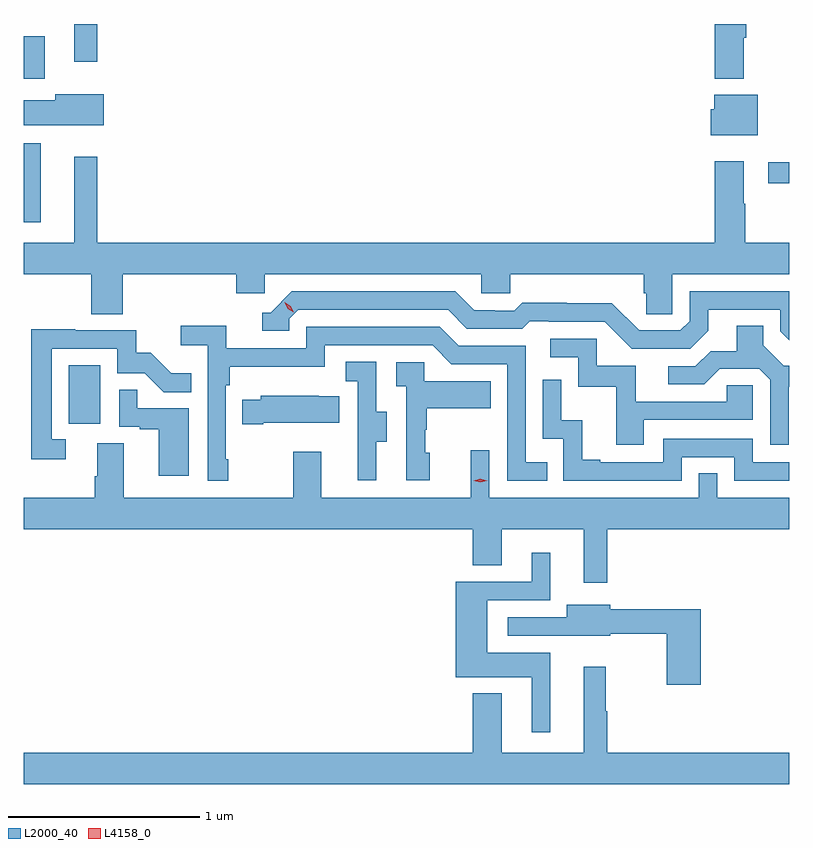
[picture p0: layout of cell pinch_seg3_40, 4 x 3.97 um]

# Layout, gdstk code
import gdstk
lib = gdstk.Library(unit=1e-6, precision=1e-09)
def R(c, l, rs):  # rectangles x0, y0, x1, y1
    for r in rs: c.add(gdstk.rectangle(r[:2], r[2:], *l))
def P(c, l, *ps):  # polygons
    for p in ps: c.add(gdstk.Polygon(p, *l))
L2000_40 = (2000, 40)
L4158_0 = (4158, 0)

pinch_seg3_40 = lib.new_cell('pinch_seg3_40')
R(pinch_seg3_40, L2000_40, [(1104.824,742.758,1104.988,743.065), (1104.588,743.811,1104.676,744.226), (1108.479,744.015,1108.588,744.125), (1104.588,744.563,1104.697,744.784), (1104.851,744.651,1104.973,744.848)])
P(pinch_seg3_40, L2000_40, [(1108.351,744.776),(1108.364,744.776),(1108.364,744.848),(1108.199,744.848),(1108.199,744.563),(1108.351,744.563)],
  [(1105.006,744.481),(1104.752,744.481),(1104.752,744.449),(1104.588,744.449),(1104.588,744.32),(1105.006,744.32)],
  [(1108.423,744.478),(1108.196,744.478),(1108.196,744.402),(1108.178,744.402),(1108.178,744.266),(1108.423,744.266)],
  [(1108.199,744.13),(1108.199,743.704),(1104.973,743.704),(1104.973,744.154),(1104.851,744.154),(1104.851,743.704),(1104.588,743.704),(1104.588,743.54),(1104.941,743.54),(1104.941,743.332),(1105.106,743.332),(1105.106,743.54),(1105.697,743.54),(1105.697,743.442),(1105.848,743.442),(1105.848,743.54),(1106.979,743.54),(1106.979,743.442),(1107.129,743.442),(1107.129,743.54),(1107.827,743.54),(1107.827,743.442),(1107.841,743.442),(1107.841,743.332),(1107.978,743.332),(1107.978,743.54),(1108.588,743.54),(1108.588,743.704),(1108.359,743.704),(1108.359,743.909),(1108.351,743.909),(1108.351,744.13)],
  [(1108.165,743.245),(1108.165,743.355),(1108.542,743.355),(1108.542,743.241),(1108.588,743.195),(1108.588,743.451),(1108.068,743.451),(1108.068,743.295),(1108.02,743.247),(1107.804,743.247),(1107.662,743.389),(1107.426,743.389),(1107.426,743.392),(1107.193,743.392),(1107.151,743.349),(1107.048,743.349),(1107.048,743.352),(1106.941,743.352),(1106.842,743.451),(1105.989,743.451),(1105.878,743.34),(1105.835,743.34),(1105.835,743.244),(1105.974,743.244),(1105.974,743.307),(1106.022,743.355),(1106.805,743.355),(1106.904,743.256),(1107.193,743.256),(1107.232,743.295),(1107.331,743.295),(1107.331,743.292),(1107.624,743.292),(1107.765,743.151),(1108.071,743.151)],
  [(1105.657,742.573),(1105.644,742.573),(1105.644,742.961),(1105.664,742.961),(1105.664,743.057),(1106.16,743.057),(1106.16,743.169),(1106.724,743.169),(1106.823,743.07),(1107.114,743.07),(1107.114,742.461),(1107.323,742.461),(1107.323,742.557),(1107.21,742.557),(1107.21,743.166),(1106.86,743.166),(1106.761,743.265),(1106.064,743.265),(1106.064,743.154),(1105.646,743.154),(1105.646,743.27),(1105.407,743.27),(1105.407,743.168),(1105.548,743.168),(1105.548,742.461),(1105.657,742.461)],
  [(1108.585,742.953),(1108.588,742.953),(1108.588,743.061),(1108.56,743.061),(1108.453,743.168),(1108.453,743.27),(1108.313,743.27),(1108.313,743.138),(1108.178,743.138),(1108.098,743.058),(1107.957,743.058),(1107.957,742.965),(1108.144,742.965),(1108.225,743.046),(1108.431,743.046),(1108.488,742.989),(1108.488,742.65),(1108.585,742.65)],
  [(1104.808,742.677),(1104.735,742.677),(1104.735,743.151),(1105.077,743.151),(1105.077,743.022),(1105.221,743.022),(1105.319,742.924),(1105.463,742.924),(1105.463,743.023),(1105.359,743.023),(1105.252,743.13),(1105.176,743.13),(1105.176,743.247),(1104.857,743.247),(1104.857,743.252),(1104.627,743.252),(1104.627,742.572),(1104.808,742.572)],
  [(1107.829,742.779),(1108.398,742.779),(1108.398,742.959),(1108.261,742.959),(1108.261,742.875),(1107.787,742.875),(1107.787,743.061),(1107.582,743.061),(1107.582,743.202),(1107.339,743.202),(1107.339,743.106),(1107.486,743.106),(1107.486,742.953),(1107.685,742.953),(1107.685,742.65),(1107.829,742.65)],
  [(1106.431,742.666),(1106.485,742.666),(1106.485,742.821),(1106.43,742.821),(1106.43,743.084),(1106.271,743.084),(1106.271,742.981),(1106.334,742.981),(1106.334,742.677),(1106.333,742.677),(1106.333,742.464),(1106.431,742.464)],
  [(1106.71,742.608),(1106.685,742.608),(1106.685,742.727),(1106.695,742.727),(1106.695,742.841),(1107.029,742.841),(1107.029,742.981),(1106.682,742.981),(1106.682,743.079),(1106.535,743.079),(1106.535,742.955),(1106.586,742.955),(1106.586,742.464),(1106.71,742.464)],
  [(1108.026,742.584),(1108.302,742.584),(1108.302,742.461),(1108.588,742.461),(1108.588,742.557),(1108.398,742.557),(1108.398,742.68),(1107.93,742.68),(1107.93,742.557),(1107.601,742.557),(1107.601,742.57),(1107.506,742.57),(1107.506,742.778),(1107.396,742.778),(1107.396,742.99),(1107.3,742.99),(1107.3,742.68),(1107.408,742.68),(1107.408,742.461),(1108.026,742.461)],
  [(1105.45,742.839),(1105.181,742.839),(1105.181,742.937),(1105.086,742.937),(1105.086,742.743),(1105.193,742.743),(1105.193,742.731),(1105.292,742.731),(1105.292,742.488),(1105.45,742.488)],
  [(1105.84,742.763),(1106.237,742.763),(1106.237,742.903),(1106.129,742.903),(1106.129,742.906),(1105.827,742.906),(1105.827,742.885),(1105.729,742.885),(1105.729,742.756),(1105.84,742.756)],
  [(1107.637,742.208),(1108.588,742.208),(1108.588,742.372),(1108.212,742.372),(1108.212,742.499),(1108.116,742.499),(1108.116,742.372),(1107.021,742.372),(1107.021,742.621),(1106.924,742.621),(1106.924,742.372),(1106.143,742.372),(1106.143,742.612),(1105.996,742.612),(1105.996,742.372),(1105.111,742.372),(1105.111,742.658),(1104.971,742.658),(1104.971,742.484),(1104.959,742.484),(1104.959,742.372),(1104.588,742.372),(1104.588,742.208),(1106.933,742.208),(1106.933,742.018),(1107.085,742.018),(1107.085,742.208),(1107.515,742.208),(1107.515,741.927),(1107.637,741.927)],
  [(1107.34,741.562),(1107.01,741.562),(1107.01,741.837),(1107.34,741.837),(1107.34,742.084),(1107.242,742.084),(1107.242,741.933),(1106.846,741.933),(1106.846,741.434),(1107.242,741.434),(1107.242,741.147),(1107.34,741.147)],
  [(1108.127,741.79),(1107.652,741.79),(1107.652,741.814),(1107.425,741.814),(1107.425,741.747),(1107.117,741.747),(1107.117,741.651),(1107.429,741.651),(1107.429,741.65),(1107.652,741.65),(1107.652,741.661),(1107.949,741.661),(1107.949,741.396),(1108.127,741.396)],
  [(1108.588,741.04),(1107.637,741.04),(1107.637,741.257),(1107.629,741.257),(1107.629,741.49),(1107.515,741.49),(1107.515,741.04),(1107.085,741.04),(1107.085,741.349),(1106.933,741.349),(1106.933,741.04),(1104.588,741.04),(1104.588,740.876),(1108.588,740.876)])
P(pinch_seg3_40, L4158_0, [(1105.998,743.342),(1105.968,743.361),(1105.952,743.393),(1105.952,743.394),(1105.952,743.394),(1105.983,743.374),(1105.999,743.342),(1105.999,743.342)],
  [(1106.974,742.452),(1106.939,742.462),(1106.939,742.462),(1106.939,742.462),(1106.974,742.472),(1107.009,742.462),(1107.009,742.462),(1107.009,742.462)])

lib.write_gds('pinch_seg3_40.gds')
